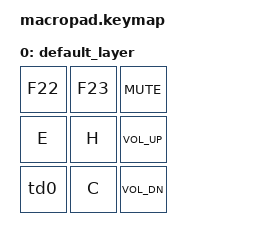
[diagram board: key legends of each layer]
/*
 * Copyright (c) 2022 The ZMK Contributors
 *
 * SPDX-License-Identifier: MIT
 */

#include <behaviors.dtsi>
#include <dt-bindings/zmk/keys.h>
#include <dt-bindings/zmk/bt.h>

/ {


    behaviors {
        td0: tap_dance_0 {
            compatible = "zmk,behavior-tap-dance";
            #binding-cells = <0>;
            tapping-term-ms = <200>;
            bindings = <&kp N1>, <&kp N2>, <&bootloader>;
        };
    };
    keymap {
        compatible = "zmk,keymap";

        default_layer {
            bindings = <
                &kp F22     &kp F23   &kp C_MUTE
                &kp E       &kp H     &kp C_VOL_UP
                &td0        &kp C     &kp C_VOL_DN
            >;
        };
    };
};
